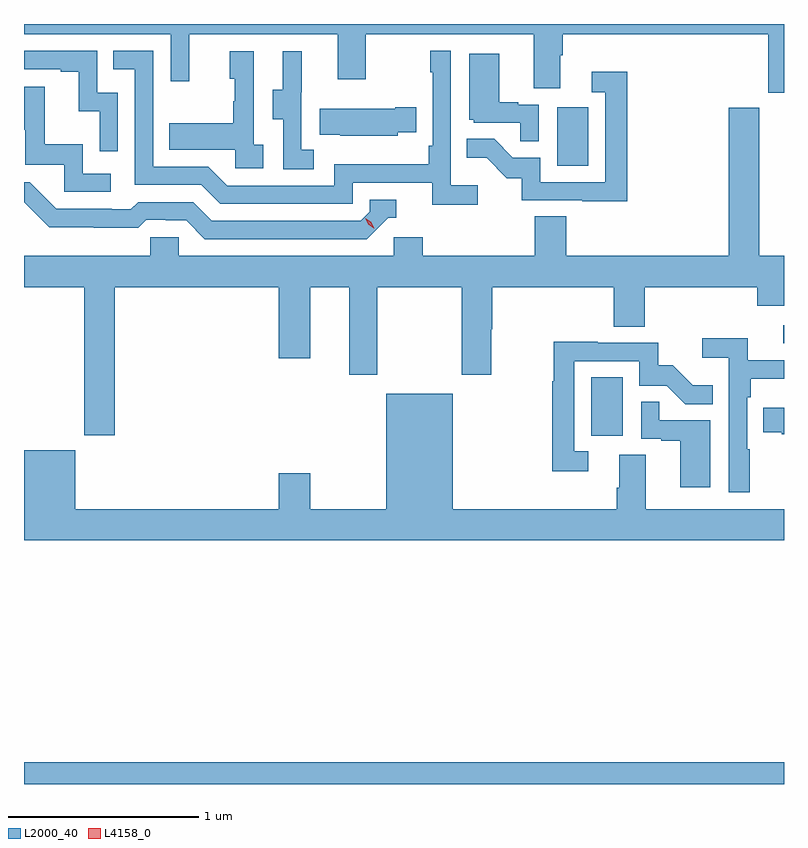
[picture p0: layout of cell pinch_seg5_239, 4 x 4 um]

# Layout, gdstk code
import gdstk
lib = gdstk.Library(unit=1e-6, precision=1e-09)
def R(c, l, rs):  # rectangles x0, y0, x1, y1
    for r in rs: c.add(gdstk.rectangle(r[:2], r[2:], *l))
def P(c, l, *ps):  # polygons
    for p in ps: c.add(gdstk.Polygon(p, *l))
L2000_40 = (2000, 40)
L4158_0 = (4158, 0)

pinch_seg5_239 = lib.new_cell('pinch_seg5_239')
R(pinch_seg5_239, L2000_40, [(966.862,911.421,970.862,911.536), (969.848,913.254,970.012,913.561), (970.859,913.74,970.862,913.836), (969.668,914.676,969.832,914.983)])
P(pinch_seg5_239, L2000_40, [(970.862,915.421),(966.862,915.421),(966.862,915.368),(967.635,915.368),(967.635,915.12),(967.733,915.12),(967.733,915.368),(968.513,915.368),(968.513,915.129),(968.661,915.129),(968.661,915.368),(969.545,915.368),(969.545,915.082),(969.685,915.082),(969.685,915.256),(969.698,915.256),(969.698,915.368),(970.778,915.368),(970.778,915.059),(970.862,915.059)],
  [(969.25,914.572),(969.108,914.572),(969.108,915.28),(969,915.28),(969,915.167),(969.012,915.167),(969.012,914.779),(968.992,914.779),(968.992,914.683),(968.496,914.683),(968.496,914.571),(967.932,914.571),(967.833,914.67),(967.542,914.67),(967.542,915.279),(967.333,915.279),(967.333,915.183),(967.446,915.183),(967.446,914.574),(967.796,914.574),(967.895,914.475),(968.592,914.475),(968.592,914.586),(969.011,914.586),(969.011,914.47),(969.25,914.47)],
  [(967.356,915.06),(967.248,915.06),(967.248,915.279),(966.862,915.279),(966.862,915.183),(967.055,915.183),(967.055,915.171),(967.151,915.171),(967.151,914.963),(967.26,914.963),(967.26,914.751),(967.356,914.751)],
  [(968.386,914.759),(968.322,914.759),(968.322,915.063),(968.324,915.063),(968.324,915.277),(968.225,915.277),(968.225,915.075),(968.171,915.075),(968.171,914.92),(968.226,914.92),(968.226,914.656),(968.386,914.656)],
  [(968.122,914.786),(968.07,914.786),(968.07,915.277),(967.946,915.277),(967.946,915.132),(967.972,915.132),(967.972,915.014),(967.962,915.014),(967.962,914.899),(967.627,914.899),(967.627,914.759),(967.974,914.759),(967.974,914.661),(968.122,914.661)],
  [(969.57,914.997),(969.464,914.997),(969.464,915.01),(969.364,915.01),(969.364,915.265),(969.206,915.265),(969.206,914.916),(969.228,914.916),(969.228,914.901),(969.475,914.901),(969.475,914.803),(969.57,914.803)],
  [(970.037,915.169),(969.849,915.169),(969.849,915.063),(969.921,915.063),(969.921,914.589),(969.579,914.589),(969.579,914.718),(969.435,914.718),(969.337,914.816),(969.193,914.816),(969.193,914.717),(969.297,914.717),(969.404,914.61),(969.481,914.61),(969.481,914.493),(969.799,914.493),(969.799,914.488),(970.037,914.488)],
  [(967.318,914.634),(967.17,914.634),(967.17,914.788),(966.971,914.788),(966.971,915.091),(966.862,915.091),(966.862,914.865),(966.869,914.865),(966.869,914.679),(967.074,914.679),(967.074,914.538),(967.318,914.538)],
  [(968.829,914.852),(968.927,914.852),(968.927,914.982),(968.816,914.982),(968.816,914.974),(968.419,914.974),(968.419,914.837),(968.527,914.837),(968.527,914.834),(968.829,914.834)],
  [(967.34,914.036),(968.204,914.036),(968.204,913.662),(968.368,913.662),(968.368,914.036),(968.573,914.036),(968.573,913.575),(968.721,913.575),(968.721,914.036),(969.166,914.036),(969.166,913.575),(969.321,913.575),(969.321,913.814),(969.326,913.814),(969.326,914.036),(969.965,914.036),(969.965,913.828),(970.13,913.828),(970.13,914.036),(970.721,914.036),(970.721,913.938),(970.862,913.938),(970.862,914.2),(970.731,914.2),(970.731,914.98),(970.571,914.98),(970.571,914.2),(969.716,914.2),(969.716,914.408),(969.551,914.408),(969.551,914.2),(968.96,914.2),(968.96,914.298),(968.808,914.298),(968.808,914.2),(967.677,914.2),(967.677,914.298),(967.527,914.298),(967.527,914.2),(966.862,914.2),(966.862,914.036),(967.18,914.036),(967.18,913.257),(967.34,913.257)],
  [(968.778,914.4),(968.821,914.4),(968.821,914.496),(968.682,914.496),(968.682,914.433),(968.634,914.385),(967.851,914.385),(967.752,914.484),(967.463,914.484),(967.424,914.445),(967.325,914.445),(967.325,914.448),(967.032,914.448),(966.891,914.589),(966.862,914.589),(966.862,914.483),(966.994,914.351),(967.23,914.351),(967.23,914.349),(967.463,914.349),(967.505,914.391),(967.608,914.391),(967.608,914.388),(967.715,914.388),(967.814,914.289),(968.667,914.289)],
  [(970.681,913.184),(970.668,913.184),(970.668,913.457),(970.688,913.457),(970.688,913.553),(970.862,913.553),(970.862,913.65),(970.67,913.65),(970.67,913.766),(970.431,913.766),(970.431,913.664),(970.572,913.664),(970.572,912.957),(970.681,912.957)],
  [(969.832,913.173),(969.759,913.173),(969.759,913.647),(970.101,913.647),(970.101,913.518),(970.245,913.518),(970.343,913.42),(970.487,913.42),(970.487,913.519),(970.383,913.519),(970.276,913.626),(970.2,913.626),(970.2,913.743),(969.881,913.743),(969.881,913.748),(969.651,913.748),(969.651,913.54),(969.643,913.54),(969.643,913.068),(969.832,913.068)],
  [(970.862,912.868),(970.135,912.868),(970.135,913.154),(969.995,913.154),(969.995,912.98),(969.983,912.98),(969.983,912.868),(969.118,912.868),(969.118,913.474),(968.768,913.474),(968.768,912.868),(968.368,912.868),(968.368,913.057),(968.204,913.057),(968.204,912.868),(967.132,912.868),(967.132,913.177),(966.862,913.177),(966.862,912.704),(970.862,912.704)],
  [(970.474,913.335),(970.205,913.335),(970.205,913.433),(970.11,913.433),(970.11,913.239),(970.217,913.239),(970.217,913.227),(970.316,913.227),(970.316,912.984),(970.474,912.984)],
  [(970.862,913.402),(970.753,913.402),(970.753,913.273),(970.851,913.273),(970.851,913.262),(970.862,913.262)])
P(pinch_seg5_239, L4158_0, [(968.704,914.346),(968.674,914.366),(968.657,914.398),(968.657,914.399),(968.658,914.399),(968.688,914.379),(968.705,914.347),(968.705,914.346)])

lib.write_gds('pinch_seg5_239.gds')
